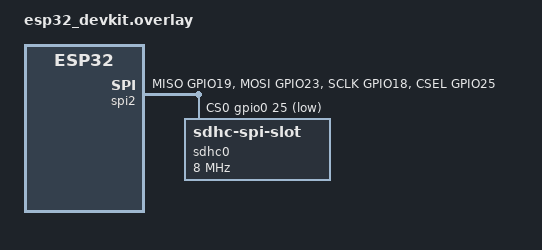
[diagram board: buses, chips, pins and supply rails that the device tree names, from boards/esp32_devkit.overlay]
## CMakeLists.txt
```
cmake_minimum_required(VERSION 3.20.0)

execute_process(
    COMMAND python ${CMAKE_CURRENT_LIST_DIR}/../scripts/generate_zephyr_overlay.py
            --config ${CMAKE_CURRENT_LIST_DIR}/../hardware_config.json
            --expert motor_driver
            --out ${CMAKE_CURRENT_LIST_DIR}/boards/generated.overlay
    RESULT_VARIABLE OVERLAY_GEN_RESULT
)
if(NOT OVERLAY_GEN_RESULT EQUAL 0)
    message(FATAL_ERROR "Failed to generate motor_driver_expert_logger devicetree overlay")
endif()

set(DTC_OVERLAY_FILE boards/generated.overlay)

find_package(Zephyr REQUIRED HINTS $ENV{ZEPHYR_BASE})

project(motor_driver_expert_logger)

target_include_directories(app PRIVATE ../common)
target_sources(app PRIVATE
    src/main.c
    ../common/dataset_commands.c
    ../common/uart_line_parser.c
    ../common/csv_logger.c
)
```

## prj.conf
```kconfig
# Zephyr config for motor_driver_expert_logger

CONFIG_SERIAL=y
CONFIG_CONSOLE=y
CONFIG_UART_CONSOLE=y
CONFIG_SHELL=y
CONFIG_SHELL_BACKEND_SERIAL=y
CONFIG_LOG=y
CONFIG_PRINTK=y

CONFIG_GPIO=y
CONFIG_I2C=y
CONFIG_SPI=y
CONFIG_ADC=y
CONFIG_SENSOR=y

CONFIG_DISK_ACCESS=y
CONFIG_DISK_DRIVER_SDMMC=y
CONFIG_FILE_SYSTEM=y
CONFIG_FAT_FILESYSTEM_ELM=y
CONFIG_FS_FATFS_LFN=y
CONFIG_SDHC=y
CONFIG_SDMMC_STACK=y

CONFIG_MAIN_STACK_SIZE=4096
CONFIG_HEAP_MEM_POOL_SIZE=8192

CONFIG_NEWLIB_LIBC=y
CONFIG_MINIMAL_LIBC=n
```

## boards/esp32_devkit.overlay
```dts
/* ESP32 DevKit overlay for Motor Driver Expert Logger. */
/* SD: SCK GPIO18, MISO GPIO19, MOSI GPIO23, CS GPIO25. */
/* Enable optional driver aliases only after final safe pin mapping is selected. */

#include <zephyr/dt-bindings/pinctrl/esp32-pinctrl.h>

&pinctrl {
    driver_spim2_default: driver_spim2_default {
        group1 {
            pinmux = <SPIM2_MISO_GPIO19>,
                     <SPIM2_MOSI_GPIO23>,
                     <SPIM2_SCLK_GPIO18>,
                     <SPIM2_CSEL_GPIO25>;
        };
    };
};

&spi2 {
    status = "okay";
    cs-gpios = <&gpio0 25 GPIO_ACTIVE_LOW>;
    pinctrl-0 = <&driver_spim2_default>;
    pinctrl-names = "default";

    sdhc0: sdhc@0 {
        compatible = "zephyr,sdhc-spi-slot";
        reg = <0>;
        status = "okay";
        spi-max-frequency = <8000000>;

        mmc {
            compatible = "zephyr,sdmmc-disk";
            disk-name = "SD";
            status = "okay";
        };
    };
};

/ {
    aliases {
        /* driver-fault-left-gpio = &driver_fault_left_node; */
        /* driver-fault-right-gpio = &driver_fault_right_node; */
        /* driver-enable-left-gpio = &driver_enable_left_node; */
        /* driver-enable-right-gpio = &driver_enable_right_node; */
        /* driver-temp-left-adc = &driver_temp_left_adc; */
        /* driver-temp-right-adc = &driver_temp_right_adc; */
        /* driver-tel-uart = &uart1; */
    };
};
```

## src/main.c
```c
#include "csv_logger.h"
#include "dataset_commands.h"
#include "uart_line_parser.h"

#include <errno.h>
#include <stdlib.h>
#include <string.h>
#include <zephyr/device.h>
#include <zephyr/drivers/gpio.h>
#include <zephyr/kernel.h>
#include <zephyr/logging/log.h>
#include <zephyr/sys/printk.h>

LOG_MODULE_REGISTER(motor_driver_expert_logger, LOG_LEVEL_INF);

#define ROBOT_ID "porter_dev"
#define EXPERT_NAME "motor_driver_expert"
#define FAULT_SUBSYSTEM "motor_driver"
#define LOG_PERIOD_MS 100
#define TELEMETRY_STALE_MS 500
#define UART_BUF_LEN 128
#define LINE_BUF_LEN 384

struct driver_telemetry {
	struct k_mutex lock;
	int pwm_left;
	int pwm_right;
	double current_left_a;
	double current_right_a;
	double battery_voltage_v;
	int64_t last_rx_ms;
};

static struct driver_telemetry telemetry;
static char uart_buffer[UART_BUF_LEN];
static struct uart_line_parser parser;

#if DT_NODE_HAS_STATUS(DT_ALIAS(driver_tel_uart), okay)
static const struct device *const telemetry_uart = DEVICE_DT_GET(DT_ALIAS(driver_tel_uart));
#else
static const struct device *const telemetry_uart;
#endif

#if DT_NODE_HAS_PROP(DT_ALIAS(driver_fault_left_gpio), gpios)
static const struct gpio_dt_spec fault_left_gpio =
	GPIO_DT_SPEC_GET(DT_ALIAS(driver_fault_left_gpio), gpios);
#else
static const struct gpio_dt_spec fault_left_gpio = { 0 };
#endif

#if DT_NODE_HAS_PROP(DT_ALIAS(driver_fault_right_gpio), gpios)
static const struct gpio_dt_spec fault_right_gpio =
	GPIO_DT_SPEC_GET(DT_ALIAS(driver_fault_right_gpio), gpios);
#else
static const struct gpio_dt_spec fault_right_gpio = { 0 };
#endif

#if DT_NODE_HAS_PROP(DT_ALIAS(driver_enable_left_gpio), gpios)
static const struct gpio_dt_spec enable_left_gpio =
	GPIO_DT_SPEC_GET(DT_ALIAS(driver_enable_left_gpio), gpios);
#else
static const struct gpio_dt_spec enable_left_gpio = { 0 };
#endif

#if DT_NODE_HAS_PROP(DT_ALIAS(driver_enable_right_gpio), gpios)
static const struct gpio_dt_spec enable_right_gpio =
	GPIO_DT_SPEC_GET(DT_ALIAS(driver_enable_right_gpio), gpios);
#else
static const struct gpio_dt_spec enable_right_gpio = { 0 };
#endif

static const struct dataset_config dataset_config = {
	.expert_name = EXPERT_NAME,
	.fault_subsystem = FAULT_SUBSYSTEM,
	.robot_id = ROBOT_ID,
	.raw_header = DATASET_COMMON_COLUMNS
		      ",pwm_left,pwm_right,driver_temp_left_c,driver_temp_right_c,"
		      "driver_fault_left,driver_fault_right,driver_enable_left,"
		      "driver_enable_right,current_left_a,current_right_a,battery_voltage_v,"
		      "telemetry_valid,telemetry_age_ms\n",
	.metadata_extra = "sample_period_ms=100\ntelemetry_stale_ms=500\n",
};

static int optional_gpio_read(const struct gpio_dt_spec *spec)
{
	int ret;

	if (spec == NULL || spec->port == NULL || !device_is_ready(spec->port)) {
		return -1;
	}

	ret = gpio_pin_get_dt(spec);
	return ret < 0 ? -1 : ret;
}

static void optional_gpio_configure(const struct gpio_dt_spec *spec, const char *name)
{
	int ret;

	if (spec == NULL || spec->port == NULL) {
		LOG_WRN("%s not configured", name);
		return;
	}
	if (!device_is_ready(spec->port)) {
		LOG_WRN("%s GPIO port not ready", name);
		return;
	}

	ret = gpio_pin_configure_dt(spec, GPIO_INPUT);
	if (ret != 0) {
		LOG_WRN("%s configure failed: %d", name, ret);
	}
}

static int parse_int_token(char **saveptr, int *value)
{
	char *token = strtok_r(NULL, ",", saveptr);
	char *end;
	long parsed;

	if (token == NULL) {
		return -EINVAL;
	}
	parsed = strtol(token, &end, 10);
	if (*end != '\0') {
		return -EINVAL;
	}
	*value = (int)parsed;
	return 0;
}

static int parse_double_token(char **saveptr, double *value)
{
	char *token = strtok_r(NULL, ",", saveptr);
	char *end;
	double parsed;

	if (token == NULL) {
		return -EINVAL;
	}
	parsed = strtod(token, &end);
	if (*end != '\0') {
		return -EINVAL;
	}
	*value = parsed;
	return 0;
}

static void handle_telemetry_line(const char *line, void *user_data)
{
	char local[UART_BUF_LEN];
	char *saveptr;
	char *prefix;
	struct driver_telemetry next;

	ARG_UNUSED(user_data);

	strncpy(local, line, sizeof(local) - 1);
	local[sizeof(local) - 1] = '\0';

	prefix = strtok_r(local, ",", &saveptr);
	if (prefix == NULL || strcmp(prefix, "DRV") != 0) {
		return;
	}

	if (parse_int_token(&saveptr, &next.pwm_left) != 0 ||
	    parse_int_token(&saveptr, &next.pwm_right) != 0 ||
	    parse_double_token(&saveptr, &next.current_left_a) != 0 ||
	    parse_double_token(&saveptr, &next.current_right_a) != 0 ||
	    parse_double_token(&saveptr, &next.battery_voltage_v) != 0) {
		LOG_WRN("Invalid DRV line");
		return;
	}

	next.last_rx_ms = k_uptime_get();
	k_mutex_lock(&telemetry.lock, K_FOREVER);
	telemetry = next;
	k_mutex_unlock(&telemetry.lock);
}

static void logger_thread(void)
{
	char line[LINE_BUF_LEN];
	struct dataset_snapshot snapshot;
	struct driver_telemetry sample;
	int64_t now;
	int age_ms;
	bool valid;
	int offset;

	while (true) {
		if (telemetry_uart != NULL) {
			uart_line_parser_poll(&parser);
		}

		k_sleep(K_MSEC(LOG_PERIOD_MS));

		if (!dataset_is_run_active()) {
			continue;
		}

		now = k_uptime_get();
		dataset_get_snapshot(&snapshot);

		k_mutex_lock(&telemetry.lock, K_FOREVER);
		sample = telemetry;
		k_mutex_unlock(&telemetry.lock);

		age_ms = sample.last_rx_ms > 0 ? (int)(now - sample.last_rx_ms) : -1;
		valid = age_ms >= 0 && age_ms <= TELEMETRY_STALE_MS;

		offset = dataset_write_common_prefix(line, sizeof(line), &snapshot, now);
		if (offset < 0 || offset >= (int)sizeof(line)) {
			continue;
		}

		csv_append_int(line, sizeof(line), &offset, valid ? sample.pwm_left : -1);
		csv_append_int(line, sizeof(line), &offset, valid ? sample.pwm_right : -1);
		csv_append_double(line, sizeof(line), &offset, -1.0);
		csv_append_double(line, sizeof(line), &offset, -1.0);
		csv_append_int(line, sizeof(line), &offset, optional_gpio_read(&fault_left_gpio));
		csv_append_int(line, sizeof(line), &offset, optional_gpio_read(&fault_right_gpio));
		csv_append_int(line, sizeof(line), &offset, optional_gpio_read(&enable_left_gpio));
		csv_append_int(line, sizeof(line), &offset, optional_gpio_read(&enable_right_gpio));
		csv_append_double(line, sizeof(line), &offset, valid ? sample.current_left_a : -1.0);
		csv_append_double(line, sizeof(line), &offset, valid ? sample.current_right_a : -1.0);
		csv_append_double(line, sizeof(line), &offset, valid ? sample.battery_voltage_v : -1.0);
		csv_append_bool(line, sizeof(line), &offset, valid);
		csv_append_int(line, sizeof(line), &offset, age_ms);
		snprintf(line + offset, sizeof(line) - offset, "\n");

		dataset_write_raw_line(line);
	}
}

K_THREAD_DEFINE(logger_tid, 4096, logger_thread, NULL, NULL, NULL, 5, 0, 0);

int main(void)
{
	int ret;

	k_mutex_init(&telemetry.lock);

	printk("========================================\n");
	printk("Motor Driver Expert Logger\n");
	printk("========================================\n");
	printk("UART format: DRV,pwm_left,pwm_right,current_left,current_right,battery_voltage\n");

	optional_gpio_configure(&fault_left_gpio, "driver-fault-left-gpio");
	optional_gpio_configure(&fault_right_gpio, "driver-fault-right-gpio");
	optional_gpio_configure(&enable_left_gpio, "driver-enable-left-gpio");
	optional_gpio_configure(&enable_right_gpio, "driver-enable-right-gpio");

	ret = dataset_init(&dataset_config);
	if (ret != 0) {
		LOG_ERR("SD storage is not ready: %d", ret);
	}

	if (telemetry_uart != NULL && device_is_ready(telemetry_uart)) {
		uart_line_parser_init(&parser, telemetry_uart, uart_buffer, sizeof(uart_buffer),
				      handle_telemetry_line, NULL);
		LOG_INF("Driver telemetry UART ready");
	} else {
		LOG_WRN("No driver-tel-uart alias is enabled; UART telemetry will remain invalid");
	}

	return 0;
}
```
